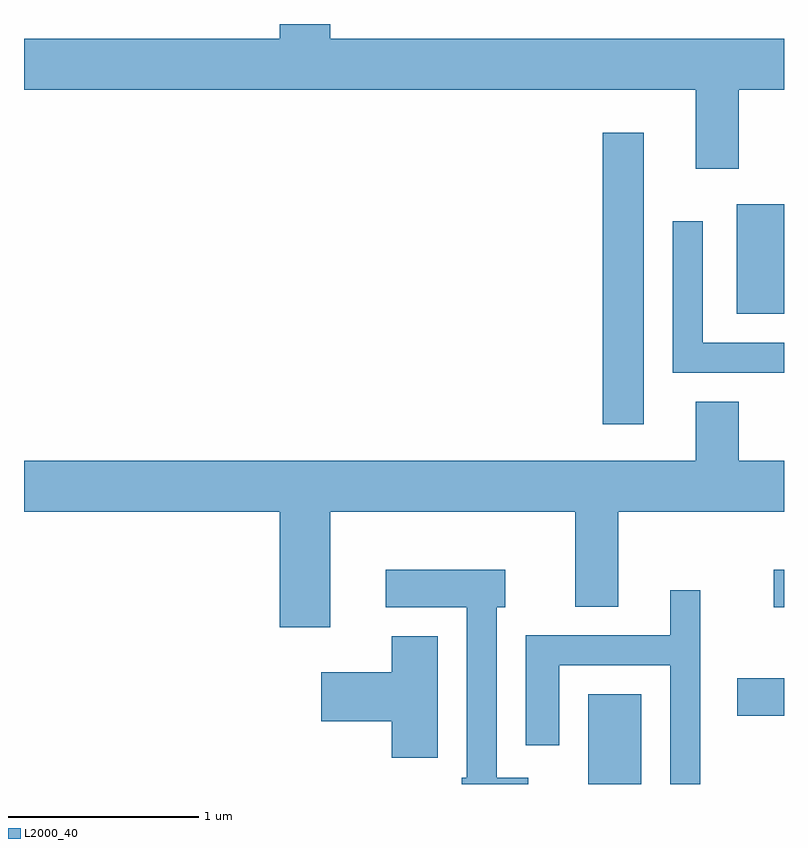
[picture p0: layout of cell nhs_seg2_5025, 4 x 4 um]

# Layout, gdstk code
import gdstk
lib = gdstk.Library(unit=1e-6, precision=1e-09)
def R(c, l, rs):  # rectangles x0, y0, x1, y1
    for r in rs: c.add(gdstk.rectangle(r[:2], r[2:], *l))
def P(c, l, *ps):  # polygons
    for p in ps: c.add(gdstk.Polygon(p, *l))
L2000_40 = (2000, 40)

nhs_seg2_5025 = lib.new_cell('nhs_seg2_5025')
R(nhs_seg2_5025, L2000_40, [(336.581,1015.802,336.859,1016.274), (337.366,1016.161,337.611,1016.359), (337.556,1016.731,337.611,1016.929), (336.656,1017.696,336.874,1019.229), (337.361,1018.276,337.611,1018.854)])
P(nhs_seg2_5025, L2000_40, [(337.146,1019.041),(337.374,1019.041),(337.374,1019.456),(337.611,1019.456),(337.611,1019.724),(335.224,1019.724),(335.224,1019.802),(334.956,1019.802),(334.956,1019.724),(333.611,1019.724),(333.611,1019.456),(337.146,1019.456)],
  [(337.611,1018.124),(337.184,1018.124),(337.184,1018.763),(337.026,1018.763),(337.026,1017.966),(337.611,1017.966)],
  [(333.611,1017.236),(334.956,1017.236),(334.956,1016.626),(335.224,1016.626),(335.224,1017.236),(336.511,1017.236),(336.511,1016.736),(336.739,1016.736),(336.739,1017.236),(337.611,1017.236),(337.611,1017.504),(337.374,1017.504),(337.374,1017.814),(337.146,1017.814),(337.146,1017.504),(333.611,1017.504)],
  [(336.264,1015.834),(336.099,1015.834),(336.099,1016.731),(336.144,1016.731),(336.144,1016.929),(335.516,1016.929),(335.516,1016.731),(335.941,1016.731),(335.941,1015.834),(335.916,1015.834),(335.916,1015.802),(336.264,1015.802)],
  [(337.169,1016.823),(337.011,1016.823),(337.011,1016.584),(336.251,1016.584),(336.251,1016.006),(336.429,1016.006),(336.429,1016.426),(337.011,1016.426),(337.011,1015.802),(337.169,1015.802)],
  [(335.789,1016.579),(335.546,1016.579),(335.546,1016.389),(335.176,1016.389),(335.176,1016.131),(335.546,1016.131),(335.546,1015.941),(335.789,1015.941)])

lib.write_gds('nhs_seg2_5025.gds')
